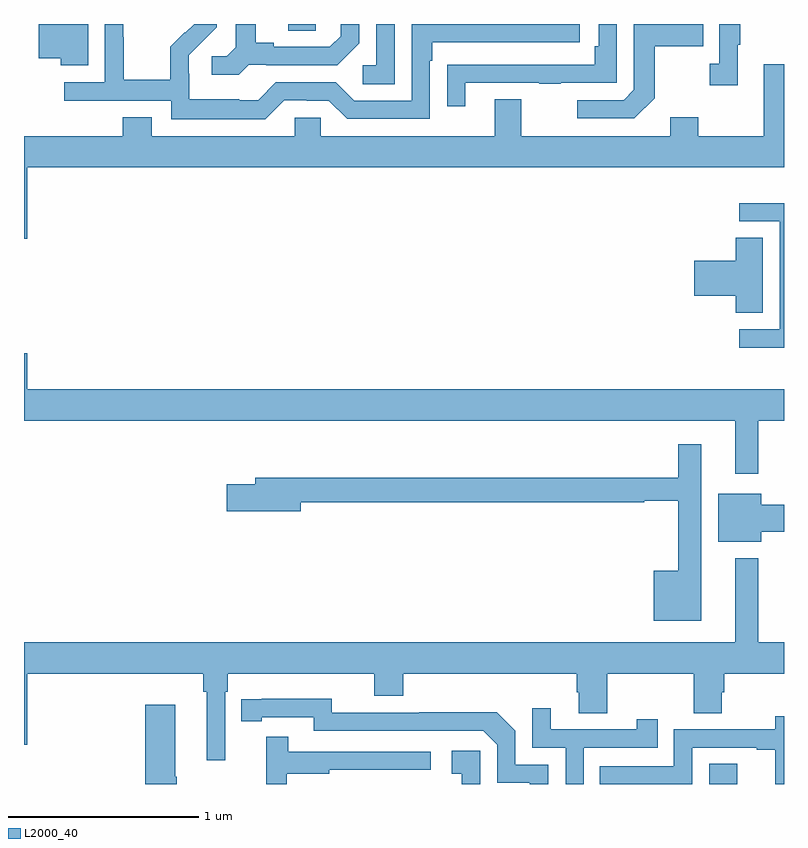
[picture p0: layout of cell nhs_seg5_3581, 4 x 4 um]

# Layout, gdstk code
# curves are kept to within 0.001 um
import gdstk
lib = gdstk.Library(unit=1e-6, precision=1e-09)
def R(c, l, rs):  # rectangles x0, y0, x1, y1
    for r in rs: c.add(gdstk.rectangle(r[:2], r[2:], *l))
def P(c, l, *ps):  # polygons
    for p in ps: c.add(gdstk.Polygon(p, *l))
L2000_40 = (2000, 40)

nhs_seg5_3581 = lib.new_cell('nhs_seg5_3581')
R(nhs_seg5_3581, L2000_40, [(324.606,902.799,324.754,902.905), (322.391,906.763,322.536,906.799)])
P(nhs_seg5_3581, L2000_40, [(324.319,906.409),(324.319,906.682),(324.575,906.682),(324.575,906.799),(324.21,906.799),(324.21,906.453),(324.156,906.399),(323.913,906.399),(323.913,906.303),(324.213,906.303)],
  [(322.182,906.585),(322.276,906.585),(322.276,906.582),(322.648,906.582),(322.764,906.698),(322.764,906.799),(322.667,906.799),(322.667,906.735),(322.61,906.678),(322.315,906.678),(322.315,906.701),(322.219,906.701),(322.219,906.799),(322.115,906.799),(322.115,906.677),(322.068,906.63),(321.987,906.63),(321.987,906.533),(322.13,906.533)],
  [(322.95,906.799),(322.854,906.799),(322.854,906.582),(322.782,906.582),(322.782,906.481),(322.95,906.481)],
  [(321.337,906.799),(321.077,906.799),(321.077,906.62),(321.194,906.62),(321.194,906.581),(321.337,906.581)],
  [(322.371,906.399),(322.487,906.399),(322.487,906.396),(322.605,906.396),(322.701,906.3),(323.136,906.3),(323.136,906.605),(323.149,906.605),(323.149,906.702),(323.926,906.702),(323.926,906.799),(323.04,906.798),(323.04,906.396),(322.737,906.396),(322.641,906.492),(322.326,906.492),(322.233,906.399),(322.133,906.399),(322.133,906.403),(321.87,906.403),(321.87,906.537),(321.868,906.537),(321.868,906.634),(322.014,906.782),(322.014,906.799),(321.895,906.799),(321.849,906.753),(321.846,906.756),(321.769,906.679),(321.769,906.505),(321.525,906.505),(321.525,906.728),(321.522,906.728),(321.522,906.799),(321.426,906.799),(321.426,906.492),(321.213,906.492),(321.213,906.396),(321.774,906.396),(321.774,906.299),(322.271,906.299)],
  [(324.757,906.689),(324.769,906.689),(324.769,906.799),(324.66,906.799),(324.66,906.59),(324.609,906.59),(324.609,906.477),(324.757,906.477)],
  [(323.323,906.489),(323.713,906.489),(323.713,906.484),(323.825,906.484),(323.825,906.489),(324.12,906.489),(324.12,906.799),(324.024,906.799),(324.024,906.682),(324.004,906.682),(324.004,906.585),(323.329,906.585),(323.329,906.584),(323.227,906.584),(323.227,906.366),(323.323,906.366)],
  [(325,906.586),(324.893,906.586),(324.893,906.208),(324.549,906.208),(324.549,906.307),(324.401,906.307),(324.401,906.208),(323.617,906.208),(323.617,906.403),(323.477,906.403),(323.477,906.208),(322.563,906.208),(322.563,906.306),(322.425,906.306),(322.425,906.208),(321.673,906.208),(321.673,906.307),(321.521,906.307),(321.521,906.208),(321,906.208),(321,905.67),(321.016,905.67),(321.016,906.044),(325,906.044)],
  [(325,905.856),(324.765,905.856),(324.765,905.76),(324.978,905.76),(324.978,905.193),(324.765,905.193),(324.765,905.095),(325,905.095)],
  [(324.889,905.675),(324.746,905.675),(324.746,905.552),(324.528,905.552),(324.528,905.369),(324.746,905.369),(324.746,905.278),(324.889,905.278)],
  [(324.865,904.712),(325,904.712),(325,904.876),(321.016,904.876),(321.016,905.065),(321,905.065),(321,904.712),(324.743,904.712),(324.743,904.431),(324.865,904.431)],
  [(324.565,904.588),(324.444,904.588),(324.444,904.411),(322.217,904.411),(322.217,904.377),(322.068,904.377),(322.068,904.235),(322.456,904.235),(322.456,904.282),(324.265,904.282),(324.265,904.29),(324.444,904.29),(324.444,903.922),(324.314,903.922),(324.314,903.659),(324.565,903.659)],
  [(324.88,904.127),(325,904.127),(325,904.269),(324.88,904.269),(324.88,904.327),(324.653,904.327),(324.653,904.073),(324.88,904.073)],
  [(322.059,903.284),(322.073,903.284),(322.073,903.38),(322.844,903.38),(322.844,903.263),(322.997,903.263),(322.997,903.38),(323.909,903.38),(323.909,903.282),(323.921,903.282),(323.921,903.172),(324.069,903.172),(324.069,903.38),(324.526,903.38),(324.526,903.172),(324.673,903.172),(324.673,903.282),(324.686,903.282),(324.686,903.38),(325,903.38),(325,903.544),(324.865,903.544),(324.865,903.988),(324.743,903.988),(324.743,903.544),(321,903.544),(321,903.006),(321.016,903.006),(321.016,903.38),(321.943,903.38),(321.943,903.284),(321.962,903.284),(321.962,902.925),(322.059,902.925)],
  [(323.76,902.901),(323.586,902.901),(323.586,903.078),(323.488,903.176),(323.08,903.176),(323.08,903.174),(322.62,903.174),(322.62,903.247),(322.144,903.246),(322.144,903.13),(322.252,903.13),(322.252,903.15),(322.524,903.15),(322.524,903.078),(323.418,903.078),(323.49,903.006),(323.49,902.805),(323.663,902.805),(323.663,902.799),(323.76,902.799)],
  [(321.804,902.837),(321.796,902.837),(321.796,903.217),(321.638,903.217),(321.638,902.799),(321.804,902.799)],
  [(323.946,902.991),(324.335,902.991),(324.335,903.139),(324.224,903.139),(324.224,903.087),(323.773,903.087),(323.773,903.199),(323.676,903.199),(323.676,902.991),(323.85,902.991),(323.85,902.799),(323.946,902.799)],
  [(324.516,902.991),(324.857,902.991),(324.857,902.979),(324.953,902.979),(324.953,902.799),(325,902.799),(325,903.156),(324.954,903.156),(324.954,903.087),(324.42,903.087),(324.42,902.892),(324.031,902.892),(324.031,902.799),(324.516,902.799)],
  [(322.384,902.854),(322.607,902.854),(322.607,902.874),(323.14,902.874),(323.14,902.97),(322.391,902.97),(322.391,903.049),(322.274,903.049),(322.274,902.799),(322.384,902.799)],
  [(323.4,902.974),(323.25,902.974),(323.25,902.853),(323.303,902.853),(323.303,902.799),(323.4,902.799)])

lib.write_gds('nhs_seg5_3581.gds')
